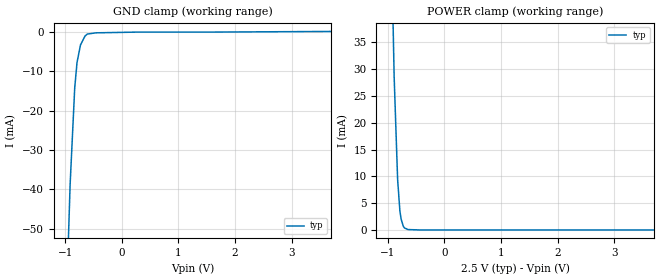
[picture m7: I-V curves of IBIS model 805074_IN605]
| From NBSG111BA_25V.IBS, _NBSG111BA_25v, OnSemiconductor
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| COPYRIGHT(C) MENTOR GRAPHICS CORPORATION 2001 ALL
| RIGHTS RESERVED. THIS WORK CONTAINS PROPRIETARY
| INFORMATION WHICH IS THE PROPERTY OF MENTOR GRAPHICS
| CORPORATION OR ITS LICENSORS. USE OF THESE MATERIALS
| IS SUBJECT TO THE TERMS BELOW.
| USE: YOU MAY USE IBIS MODELS SOLELY FOR DEVELOPING
| PRINTED CIRCUIT BOARD DESIGNS. NO OTHER USE OR
| DISTRIBUTION OF THESE MATERIALS IS PERMITTED.
| Model Application Version 1.89 2/18/99.
[Model] 805074_IN605
Model_type Input
Vinl = 700.0mV
Vinh = 1.700V
C_comp 500.0fF NA NA
| variable typ   min   max
[Voltage Range] 2.500V NA NA
[GND Clamp Reference] 0.000V NA NA
[POWER Clamp Reference] 2.500V NA NA
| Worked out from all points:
|   GND clamp passes 1 mA (typ) near -0.65 V on its own axis
|   POWER clamp passes 1 mA (typ) near -0.73 V on its own axis
[GND Clamp]
-2.5V     -885.3mA   NA         NA
-1.034V   -94.3mA    NA         NA
-912mV    -38.7mA    NA         NA
-831mV    -14.2mA    NA         NA
-791mV    -7.8mA     NA         NA
-730mV    -3.3mA     NA         NA
-649mV    -1mA       NA         NA
-608mV    -500uA     NA         NA
-456mV    -187.1uA   NA         NA
284mV     0A         NA         NA
1.571V    0A         NA         NA
5V        266.4uA    NA         NA
[POWER Clamp]
-2.5V     1.097A     NA         NA
-1.027V   102.8mA    NA         NA
-885mV    28.56mA    NA         NA
-824mV    9.464mA    NA         NA
-784mV    3.567mA    NA         NA
-763mV    2.069mA    NA         NA
-723mV    671.6uA    NA         NA
-702mV    373.3uA    NA         NA
-641mV    78.01uA    NA         NA
-427.3mV  0A         NA         NA
5V        0A         NA         NA
